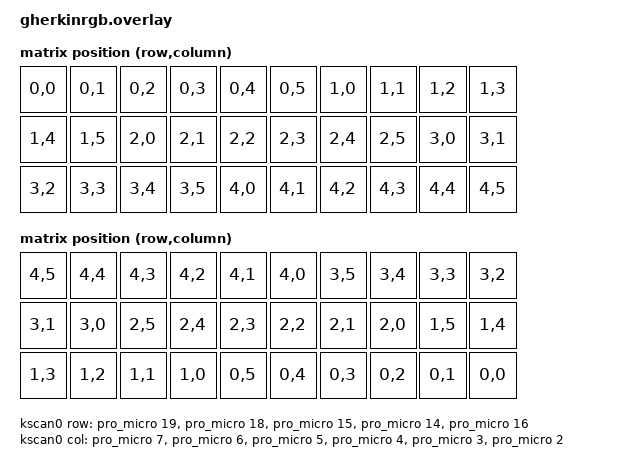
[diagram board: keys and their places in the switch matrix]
/*
 * Copyright (c) 2022 purple-rw
 *
 * SPDX-License-Identifier: MIT
 *
 * Orientation of the PCB:
 *     ,--------------------,
 *     | 0                  |
 *     |            _____x /     When looking on the key switch/key caps side, controller
 *     |           |_____|       is on the right, and pin 1 (TX) in top-right corner
 *     |                   \     (marked 'x') for orientation 0.
 *     |                    |
 *     '--------------------'
 *     ,--------------------,
 *     | 1                  |
 *      \  _____            |
 *        |_____|           |
 *      / x                 |
 *     |                    |
 *     '--------------------'
 *
 * Note: The nice!nano v2 is pushed in ~2.54mm so that it does not stick out from the PCB.
 *       However, the first 4 pins (not including Batt/Gnd pins) near the USB-C port from
 *       each side are still connected to the same location, so the pins need to be slanted.
 */

#include <dt-bindings/zmk/matrix_transform.h>

/ {
    chosen {
        zmk,kscan = &kscan0;
        zmk,matrix_transform = &default_transform;
    };

    /* orientation 0 */
    default_transform: keymap_transform_0 {
        compatible = "zmk,matrix-transform";
        columns = <6>;
        rows = <5>;

        map = <
            RC(0,0) RC(0,1) RC(0,2) RC(0,3) RC(0,4) RC(0,5) RC(1,0) RC(1,1) RC(1,2) RC(1,3)
            RC(1,4) RC(1,5) RC(2,0) RC(2,1) RC(2,2) RC(2,3) RC(2,4) RC(2,5) RC(3,0) RC(3,1)
            RC(3,2) RC(3,3) RC(3,4) RC(3,5) RC(4,0) RC(4,1) RC(4,2) RC(4,3) RC(4,4) RC(4,5)
        >;
    };

    orientation1_transform: keymap_transform_1 {
        compatible = "zmk,matrix-transform";
        columns = <6>;
        rows = <5>;

        map = <
            RC(4,5) RC(4,4) RC(4,3) RC(4,2) RC(4,1) RC(4,0) RC(3,5) RC(3,4) RC(3,3) RC(3,2)
            RC(3,1) RC(3,0) RC(2,5) RC(2,4) RC(2,3) RC(2,2) RC(2,1) RC(2,0) RC(1,5) RC(1,4)
            RC(1,3) RC(1,2) RC(1,1) RC(1,0) RC(0,5) RC(0,4) RC(0,3) RC(0,2) RC(0,1) RC(0,0)
        >;
    };

    kscan0: kscan_0 {
        compatible = "zmk,kscan-gpio-matrix";
        label = "KSCAN";
        diode-direction = "col2row";

        col-gpios
            = <&pro_micro 7 GPIO_ACTIVE_HIGH>
            , <&pro_micro 6 GPIO_ACTIVE_HIGH>
            , <&pro_micro 5 GPIO_ACTIVE_HIGH>
            , <&pro_micro 4 GPIO_ACTIVE_HIGH>
            , <&pro_micro 3 GPIO_ACTIVE_HIGH>
            , <&pro_micro 2 GPIO_ACTIVE_HIGH>
            ;

        row-gpios
            = <&pro_micro 19 (GPIO_ACTIVE_HIGH | GPIO_PULL_DOWN)>
            , <&pro_micro 18 (GPIO_ACTIVE_HIGH | GPIO_PULL_DOWN)>
            , <&pro_micro 15 (GPIO_ACTIVE_HIGH | GPIO_PULL_DOWN)>
            , <&pro_micro 14 (GPIO_ACTIVE_HIGH | GPIO_PULL_DOWN)>
            , <&pro_micro 16 (GPIO_ACTIVE_HIGH | GPIO_PULL_DOWN)>
            ;
    };
};
